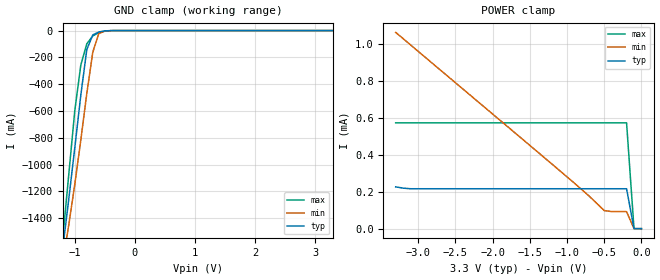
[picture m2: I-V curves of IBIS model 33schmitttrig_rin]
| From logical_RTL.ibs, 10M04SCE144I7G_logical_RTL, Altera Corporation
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|MODEL 33schmitttrig_rin
[Model]   33schmitttrig_rin
Model_type   Input
Polarity   Non-Inverting
Vinl   = 0.800
Vinh   = 1.700
C_comp 4.5pF   4.5pF   4.5pF
[Model Spec]
Vinh   1.700   1.700   1.700
Vinl   0.800   0.800   0.800
[Temperature Range]   25   100   -40
[Voltage Range]   3.300   3.085   3.465
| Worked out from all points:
|   GND clamp passes 1 mA (typ) near -0.44 V on its own axis
[GND Clamp]
| voltage   I (typ)   I (min)   I (max)
-3.3V     -8.619A    -7.629A    -10.51A
-1.2V     -1.623A    -1.724A    -1.549A
-1.1V     -1.258A    -1.45A     -1.073A
-1V       -874.3mA   -1.148A    -597.4mA
-900mV    -483mA     -818mA     -257.7mA
-800mV    -141mA     -468.4mA   -98.63mA
-700mV    -32.06mA   -160.8mA   -39.96mA
-600mV    -10.6mA    -22.19mA   -15.19mA
-500mV    -2.181mA   -3.852mA   -3.947mA
3.3V      0A         0A         0A
[Power Clamp]
| voltage   I (typ)   I (min)   I (max)
-3.3V     225.6uA    1.06mA     571.7uA
-3.1V     215.6uA    992.4uA    571.7uA
-1V       215.6uA    280uA      571.7uA
-700mV    215.6uA    174.9uA    571.7uA
-500mV    215.6uA    97.73uA    571.7uA
-400mV    215.6uA    92.15uA    571.7uA
-200mV    215.6uA    92.15uA    571.7uA
-100mV    0A         0A         0A
0V        0A         0A         0A
